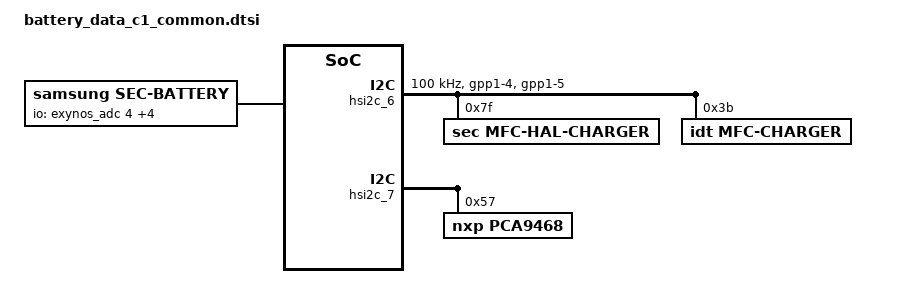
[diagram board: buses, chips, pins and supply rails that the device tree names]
/*
 * SAMSUNG UNIVERSAL9830 board device tree source
 *
 * Copyright (c) 2018 Samsung Electronics Co., Ltd.
 *		http://www.samsung.com
 *
 * This program is free software; you can redistribute it and/or modify
 * it under the terms of the GNU General Public License version 2 as
 * published by the Free Software Foundation.
 */
/ {
	fragment@battery {
		target-path = "/";
		__overlay__ {
			sec-direct-charger {
				status = "okay";
				compatible = "samsung,sec-direct-charger";

				charger,battery_name = "battery";
				charger,main_charger = "max77705-charger";
				charger,direct_charger = "pca9468-charger";

				charger,dchg_min_current = <2000>;
				charger,dchg_temp_low_threshold = <180>;
				charger,dchg_temp_high_threshold = <420>;
			};

			battery {
				status = "okay";
				compatible = "samsung,sec-battery";
				/* battery,irq_gpio = <&gpa1 6 0>; */

				battery,vendor = "Battery";
				battery,charger_name = "sec-direct-charger";
				battery,fuelgauge_name = "max77705-fuelgauge";
				battery,wireless_charger_name = "mfc-charger";
				battery,technology = <2>; /* POWER_SUPPLY_TECHNOLOGY_LION */
				battery,fgsrc_switch_name = "max77705-charger"; /* Fuelgauge voltage source */

				battery,batt_data_version = <2>;

				battery,chip_vendor = "LSI";
				battery,temp_adc_type = <1>; /* SEC_BATTERY_ADC_TYPE_AP */

				battery,temp_check_type = <2>; /* SEC_BATTERY_TEMP_CHECK_TEMP */
				battery,usb_temp_check_type = <2>;
				battery,chg_temp_check_type = <2>;
				battery,wpc_temp_check_type = <2>;
				battery,dchg_temp_check_type = <2>;

				battery,thermal_source = <2>; /* SEC_BATTERY_THERMAL_SOURCE_ADC */
				battery,usb_thermal_source = <2>;
				battery,chg_thermal_source = <2>;
				battery,wpc_thermal_source = <2>;
				battery,dchg_thermal_source = <3>; /* SEC_BATTERY_THERMAL_SOURCE_CHG_ADC */

				battery,polling_time = <10 30 30 30 3600>;

				battery,temp_table_adc = <331 372 428 483 562 654 761 885 1027 1188 1371
					1571 1791 2016 2253 2491 2728 2941 3133 3301 3446 3566 3660>;
				battery,temp_table_data = <900 850 800 750 700 650 600 550 500 450 400
					350 300 250 200 150 100 50 0 (-50) (-100) (-150) (-200)>;

				battery,usb_temp_table_adc = <294 345 407 475 558 652 763 890 1036 1201 1383
					1584 1800 2027 2257 2491 2716 2918 3115 3280 3436 3556 3654>;
				battery,usb_temp_table_data = <900 850 800 750 700 650 600 550 500 450 400
					350 300 250 200 150 100 50 0 (-50) (-100) (-150) (-200)>;

				battery,chg_temp_table_adc = <255 300 371 434 516 608 718 842 987 1145 1326
					1531 1754 1979 2224 2463 2702 2921 3117 3293 3461 3585 3694>;
				battery,chg_temp_table_data = <900 850 800 750 700 650 600 550 500 450 400
					350 300 250 200 150 100 50 0 (-50) (-100) (-150) (-200)>;

				battery,wpc_temp_table_adc = <331 372 428 483 562 654 761 885 1027 1188 1371
					1571 1791 2016 2253 2491 2728 2941 3133 3301 3446 3566 3660>;
				battery,wpc_temp_table_data = <900 850 800 750 700 650 600 550 500 450 400
					350 300 250 200 150 100 50 0 (-50) (-100) (-150) (-200)>;

				battery,dchg_temp_table_adc = <100096 119646 150144 176732 215050 255714 303416 358156 421498 492660 568514
					663136 761668 865674 972026 1079160 1184730 1284044 1373192 1456084 1524900 1581986 1630470>;
				battery,dchg_temp_table_data = <900 850 800 750 700 650 600 550 500 450 400
					350 300 250 200 150 100 50 0 (-50) (-100) (-150) (-200)>;

				battery,wireless_cc_cv = <85>;
				battery,wpc_cc_cv_vout = <5500>;
				battery,wpc_cv_call_vout = <5000>;
				battery,wpc_cc_call_vout = <5000>;
				battery,wpc_det = <&gpa2 0 0>;
				battery,wpc_en = <&gpm10 0 0>;
				battery,wpc_int = <&gpa3 2 0>;
				battery,hv_vout_wa = <0x41>; /* WC vout 10.0V */
				battery,adc_check_count = <5>;

				battery,cable_check_type = <4>; /* SEC_BATTERY_CABLE_CHECK_PSY */
				battery,cable_source_type = <1>; /* SEC_BATTERY_CABLE_SOURCE_EXTERNAL */
				battery,polling_type = <1>; /* SEC_BATTERY_MONITOR_ALARM */
				battery,monitor_initial_count = <0>;

				battery,battery_check_type = <0>; /* SEC_BATTERY_CHECK_NONE */
				battery,check_count = <0>;
				battery,check_adc_max = <1440>;
				battery,check_adc_min = <0>;

				battery,ovp_uvlo_check_type = <3>; /* SEC_BATTERY_OVP_UVLO_CHGPOLLING */

				battery,temp_check_count = <1>;
				battery,temp_highlimit_threshold_event = <700>;
				battery,temp_highlimit_recovery_event = <680>;
				battery,temp_high_threshold_event = <500>;
				battery,temp_high_recovery_event = <480>;
				battery,temp_low_threshold_event = <0>;
				battery,temp_low_recovery_event = <20>;
				battery,temp_highlimit_threshold_normal = <700>;
				battery,temp_highlimit_recovery_normal = <680>;
				battery,temp_high_threshold_normal = <500>;
				battery,temp_high_recovery_normal = <480>;
				battery,temp_low_threshold_normal = <0>;
				battery,temp_low_recovery_normal = <20>;
				battery,temp_highlimit_threshold_lpm = <700>;
				battery,temp_highlimit_recovery_lpm = <680>;
				battery,temp_high_threshold_lpm = <500>;
				battery,temp_high_recovery_lpm = <480>;
				battery,temp_low_threshold_lpm = <0>;
				battery,temp_low_recovery_lpm = <20>;
				battery,wpc_high_threshold_normal = <450>;
				battery,wpc_high_recovery_normal = <430>;
				battery,wpc_low_threshold_normal = <0>;
				battery,wpc_low_recovery_normal = <20>;
				battery,tx_high_threshold = <450>;
				battery,tx_high_recovery = <400>;
				battery,tx_low_threshold = <0>;
				battery,tx_low_recovery = <50>;
				battery,full_check_type = <2>; /* SEC_BATTERY_FULLCHARGED_FUELGAUGE */
				battery,full_check_type_2nd = <2>; /* SEC_BATTERY_FULLCHARGED_FUELGAUGE */
				battery,full_check_count = <1>;
				battery,chg_gpio_full_check = <0>;
				battery,chg_polarity_full_check = <1>;

				battery,chg_high_temp = <500>;
				battery,chg_high_temp_recovery = <480>;

				battery,dchg_high_temp = <480>;
				battery,dchg_high_temp_recovery = <420>;
				battery,dchg_high_batt_temp = <400>;
				battery,dchg_high_batt_temp_recovery = <380>;

				battery,chg_input_limit_current = <1000>;
				battery,chg_charging_limit_current = <1900>;
				battery,dchg_input_limit_current = <1000>;
				battery,dchg_charging_limit_current = <2000>;

				battery,charging_limit_by_tx_check = <1>;

				battery,wpc_temp_control_source = <1>; /* TEMP_CONTROL_SOURCE_BAT_THM = WPC_THM */
				battery,wpc_high_temp = <400>;
				battery,wpc_high_temp_recovery = <380>;
				battery,wpc_input_limit_current = <600>;
				battery,wpc_charging_limit_current = <1000>;
				battery,wpc_temp_lcd_on_control_source = <1>; /* TEMP_CONTROL_SOURCE_BAT_THM = WPC_THM */
				battery,wpc_lcd_on_high_temp = <400>;
				battery,wpc_lcd_on_high_temp_rec = <380>;
				battery,wpc_lcd_on_input_limit_current = <450>;

				battery,wpc_store_high_temp = <360>;
				battery,wpc_store_high_temp_recovery = <340>;
				battery,wpc_store_lcd_on_high_temp = <360>;
				battery,wpc_store_lcd_on_high_temp_rec = <300>;
				battery,wpc_store_lcd_on_charging_limit_current = <400>;

				battery,sleep_mode_limit_current = <800>;
				battery,wc_full_input_limit_current = <100>;

				battery,mix_high_temp = <420>;
				battery,mix_high_chg_temp = <500>;
				battery,mix_high_dc_temp = <580>;
				battery,mix_high_temp_recovery = <390>;

				/* SEC_BATTERY_FULL_CONDITION_NOTIMEFULL | SEC_BATTERY_FULL_CONDITION_VCELL */
				battery,full_condition_type = <9>;
				battery,full_condition_soc = <93>;
				battery,full_condition_vcell = <4370>;

				battery,recharge_check_count = <1>;
				battery,recharge_condition_type = <4>; /* SEC_BATTERY_RECHARGE_CONDITION_VCELL */
				battery,recharge_condition_soc = <98>;
				battery,recharge_condition_vcell = <4350>;

				battery,charging_total_time = <14400>;
				battery,hv_charging_total_time = <10800>;
				battery,normal_charging_total_time = <18000>;
				battery,usb_charging_total_time = <36000>;
				battery,recharging_total_time = <5400>;
				battery,charging_reset_time = <0>;

				battery,chg_float_voltage = <4420>;
				battery,chg_ocp_current = <6200>;
				battery,chg_ocp_dtc = <100>;

				battery,swelling_high_temp_block = <420>;
				battery,swelling_high_temp_recov = <400>;
				battery,swelling_low_temp_block_1st = <150>;
				battery,swelling_low_temp_recov_1st = <170>;
				battery,swelling_low_temp_block_2nd = <50>;
				battery,swelling_low_temp_recov_2nd = <70>;
				battery,swelling_low_temp_3rd_ctrl;
				battery,swelling_low_temp_block_3rd = <180>;
				battery,swelling_low_temp_recov_3rd = <200>;

				battery,swelling_low_temp_current = <1000>;	/* 0.24C */
				battery,swelling_low_temp_current_2nd = <400>;	/* 0.1C */
				battery,swelling_low_temp_current_3rd = <3000>;	/* 0.72C */
				battery,swelling_low_temp_topoff = <208>;	/* 0.05C */
				battery,swelling_high_temp_current = <1500>;	/* 0.36C */
				battery,swelling_high_temp_topoff = <208>;	/* 0.05C */
				battery,swelling_wc_high_temp_current = <1000>;	/* 0.24C */
				battery,swelling_wc_low_temp_current = <1000>;	/* 0.24C */
 				battery,swelling_wc_low_temp_current_2nd = <400>;	/* 0.1C */
				battery,swelling_wc_low_temp_current_3rd = <3000>;	/* 0.72C */
				battery,swelling_low_rechg_thr = <150>;

				battery,swelling_drop_float_voltage = <4200>;
				battery,swelling_high_rechg_voltage = <4050>;
				battery,swelling_low_rechg_voltage = <4000>;
				battery,wa_float_voltage = <4050>;

				battery,siop_event_check_type = <1>;
				battery,siop_call_cv_current = <300>;
				battery,siop_call_cc_current = <300>;

				battery,siop_input_limit_current = <1200>;
				battery,siop_charging_limit_current = <1000>;
				battery,siop_hv_input_limit_current = <700>;
				battery,siop_hv_charging_limit_current = <1000>;
				battery,siop_apdo_input_limit_current = <1200>;
				battery,siop_apdo_charging_limit_current = <2000>;

				battery,siop_wireless_input_limit_current = <600>;
				battery,siop_wireless_charging_limit_current = <1000>;
				battery,siop_hv_wireless_input_limit_current = <700>;
				battery,siop_hv_wireless_charging_limit_current = <1000>;
				battery,siop_store_hv_wireless_input_limit_current = <450>;
				battery,store_mode_buckoff;

				battery,ttf_hv_charge_current = <2750>;
				battery,ttf_hv_wireless_charge_current = <1430>;
				battery,ttf_wireless_charge_current = <865>;
				battery,ttf_dc25_charge_current = <4000>;
				battery,ttf_dc45_charge_current = <4000>;

				battery,rp_current_rp1 = <500>;
				battery,rp_current_rp2 = <1500>;
				battery,rp_current_rp3 = <3000>;
				battery,rp_current_rdu_rp3 = <2100>;
				battery,rp_current_abnormal_rp3 = <1800>;

				battery,pd_charging_charge_power = <15000>;
				battery,max_charging_current = <3150>;
				battery,max_charging_charge_power = <25000>; /* 25W */
				battery,battery_full_capacity = <4300>;

				/* cycle, chg_float_voltage, recharge_condition_vcell, full_condition_vcell, full_condition_soc */
				battery,age_data = <0 4420 4350 4370 93
						200 4360 4290 4310 90
						1000 4310 4240 4260 89>;

				battery,health_condition = <
					/* CYCLE ASOC */
					900 75	/* GOOD */
					1200 65 /* NORMAL */
					1500 55 /* AGED */
					>;

				/* step charging option */
				battery,step_charging_type = <0x3E>;
				battery,step_charging_step = <2>;
				battery,step_charging_charge_power = <12000>;
				battery,step_charging_condition = <55 100 55 100 55 100 55 100 55 100>;
				battery,step_charging_condition_curr = <2850 2500>;
				battery,step_charging_current = <3150 3100>;
				battery,step_charging_float_voltage = <4260 4420>;

				/* direct step charging option */
				battery,dc_step_chg_type = <0xE9>;
				battery,dc_step_chg_charge_power = <22000>;
				battery,dc_step_chg_step = <3>;
				battery,dc_step_chg_step_2nd = <0>;
				battery,dc_step_chg_cond_vol = <4150 4265 4420>; /*<25w 3step> STEP_CHARGING_CONDITION_VOLTAGE */
				battery,dc_step_chg_cond_iin = <1940 1550 0>; /* <25w 3step> STEP_CHARGING_CONDITION_INPUT_CURRENT */
				battery,dc_step_chg_iin_check_cnt = <3>;
				battery,dc_step_chg_val_vfloat = <4150 4265 4420>; /* <25w 3step> STEP_CHARGING_CONDITION_FLOAT_VOLTAGE */
				battery,dc_step_chg_val_iout = <5040 3880 3100>; /* <25w 3step> */
				battery,dc_step_chg_cond_soc = <30 55 100 30 55 100 30 55 100 30 55 100 30 55 100>; /* <25w 3step> STEP_CHARGING_CONDITION_SOC */

				battery,pre_afc_input_current = <500>; /* mA */
				battery,prepare_ta_delay = <0>; /* msec */

				battery,max_input_voltage = <9000>; /* mV */
				battery,max_input_current = <3000>;  /* mA */

				battery,enable_sysovlo_irq;
				battery,enable_noise_wa;
				battery,dis_auto_shipmode_temp_ctrl;

				battery,standard_curr = <3100>;
				battery,expired_time = <10800>;
				battery,recharging_expired_time = <5400>;

				battery,cisd_max_voltage_thr = <4470>; /* battery ovp detection voltage */

				battery,cisd_alg_index = <8>;
				battery,ignore_cisd_index = <0 0>;
				battery,ignore_cisd_index_d = <0 80>; /* Do not use BUCK_OFF_PER_DAY, DROP_SENSOR_PER_DAY */

				battery,tx_stop_capacity = <30>;
				battery,tx_minduty_default = <20>;
				battery,tx_minduty_5V = <50>;

				battery,tx_uno_iout = <1500>;
				battery,tx_mfc_iout_gear = <1500>;
				battery,tx_mfc_iout_phone = <1100>;
				battery,tx_mfc_iout_phone_5v = <300>;
				battery,tx_mfc_iout_lcd_on = <900>;

				battery,support_unknown_wpcthm;

				io-channels = <&exynos_adc 4>, <&exynos_adc 3>, <&exynos_adc 11>, <&exynos_adc 4>, <&exynos_adc 1>;
				io-channel-names = "adc-temp", "adc-chg-temp", "adc-in-bat", "adc-wpc-temp", "adc-usb-temp";
				#io-channel-cells = <5>;
				io-channel-ranges;

				battery,snkcap_data = /bits/ 8 <0x04 0x2C 0x91 0x01 0x36 0xC8 0xD0 0x02 0x00 0xC8 0x90
					0x41 0x8B 0x32 0x21 0xDC 0xC0>;
			};

			max77705-fuelgauge {
				status = "okay";
				fuelgauge,fuel_alert_soc = <1>;
				fuelgauge,jig_gpio = <&gpm23 0 0>;
				fuelgauge,jig_low_active;
				fuelgauge,capacity_max = <1000>;
				fuelgauge,capacity_max_margin = <300>;
				fuelgauge,capacity_min = <0>;
				fuelgauge,capacity_calculation_type = <0x5C>;
				fuelgauge,repeated_fuelalert;
				fuelgauge,using_temp_compensation;
				fuelgauge,low_temp_limit = <100>;
				fuelgauge,vempty_recover_time = <180>; /* 3 mins */
				fuelgauge,using_hw_vempty;
				fuelgauge,v_empty = <0xA7E2>; /* Empty: 3400mV, Recover: 4000mV */
				fuelgauge,v_empty_origin = <0x7D54>; /* Empty: 2500mV, Recover: 3360mV */
				fuelgauge,sw_v_empty_voltage = <3200>;
				fuelgauge,sw_v_empty_voltage_cisd = <3100>;
				fuelgauge,sw_v_empty_recover_voltage = <3480>;
				fuelgauge,qrtable20 = <0x0F00>;
				fuelgauge,qrtable30 = <0x0C80>;
				fuelgauge,fg_resistor = <2>;
				fuelgauge,capacity = <0x0F50>;
				/* fullcapnom(=capacity), dPacc, dQacc,  rcomp0, tempco */
				fuelgauge,fg_reset_wa_data = <0x0F50 0x3200 0x03D4 0x0035 0x1827>;
				/*fuelgauge,auto_discharge_en;*/
				fuelgauge,discharge_temp_threshold = <600>;
				fuelgauge,discharge_volt_threshold = <4200>;

				fuelgauge,lost_soc_trig_soc = <1000>; /* 100.0% */
				fuelgauge,lost_soc_trig_d_soc = <20>; /* 2% */
				fuelgauge,lost_soc_trig_scale = <2>; /* 2x */
				fuelgauge,lost_soc_guarantee_soc = <30>; /* 3.0% */
				fuelgauge,lost_soc_min_vol = <3200>; /* 3200mV */

				fuelgauge,ttf_capacity = <3500>;
				fuelgauge,cv_data = <
					3228	864	1534
					3067	872	1493
					2896	881	1442
					2695	892	1380
					2492	902	1293
					2263	910	1205
					2103	920	1108
					1911	930	1000
					1722	942	871
					1532	950	763
					1338	960	685
					1213	969	486
					1073	980	307
					932		990	115
					571		1000	0
				>;
			};

			/* sec_battery_cable
			 *   0	UNKNOWN,
			 *   1	NONE,
			 *   2	PREPARE_TA,
			 *   3	TA,
			 *   4	USB,
			 *   5	USB_CDP,
			 *   6	9V_TA,
			 *   7	9V_ERR,
			 *   8	9V_UNKNOWN,
			 *   9	12V_TA,
			 *  10	WIRELESS,
			 *  11	HV_WIRELESS,
			 *  12	PMA_WIRELESS,
			 *  13	WIRELESS_PACK,
			 *  14	WIRELESS_HV_PACK,
			 *  15	WIRELESS_STAND,
			 *  16	WIRELESS_HV_STAND,
			 *  17	QC20,
			 *  18	QC30,
			 *  19	PDIC,
			 *  20	UARTOFF,
			 *  21	OTG,
			 *  22	LAN_HUB,
			 *  23	POWER_SHARING,
			 *  24	HMT_CONNECTED,
			 *  25	HMT_CHARGE,
			 *  26	HV_TA_CHG_LIMIT,
			 *  27	WIRELESS_VEHICLE,
			 *  28	WIRELESS_HV_VEHICLE,
			 *  29	PREPARE_WIRELESS_HV,
			 *  30	TIMEOUT,
			 *  31	SMART_OTG,
			 *  32	SMART_NOTG,
			 *  33	WIRELESS_TX,
			 *  34	HV_WIRELESS_20,
			 *  35	HV_WIRELESS_20_LIMIT,
			 *  36	WIRELESS_FAKE,
			 *  37  PREPARE_WIRELESS_20,
			 *  38	CABLE_PDIC_APDO,
			 *  39	CABLE_MAX,
			 */

			cable-info {
				default_input_current = <1800>;
				default_charging_current = <2100>;
				full_check_current_1st = <625>;
				full_check_current_2nd = <208>;

				current_group_1 {
					cable_number = <2 19 21 22 23 30>;
					input_current = <500>;
					charging_current = <500>;
				};
				current_group_2 {
					cable_number = <25 31>;
					input_current = <1000>;
					charging_current = <1000>;
				};
				current_group_3 {
					cable_number = <5 32>;
					input_current = <1500>;
					charging_current = <1500>;
				};
				current_group_4 {
					cable_number = <6 7 8>;
					input_current = <1650>;
					charging_current = <3150>;
				};
				current_group_5 {
					cable_number = <9>;
					input_current = <1650>;
					charging_current = <3150>;
				};
				current_group_6 {
					cable_number = <10 12 15 27 33 35>;
					input_current = <800>;
					charging_current = <3000>;
				};
				current_group_7 {
					cable_number = <13>;
					input_current = <700>;
					charging_current = <3000>;
				};
				current_group_8 {
					cable_number = <24>;
					input_current = <1000>;
					charging_current = <450>;
				};
				current_group_9 {
					cable_number = <26>;
					input_current = <2000>;
					charging_current = <1800>;
				};
				current_group_10 {
					cable_number = <11 14 16 28>;
					input_current = <750>;
					charging_current = <3000>;
				};
				current_group_11 {
					cable_number = <29 36 37>;
					input_current = <500>;
					charging_current = <1400>;
				};
				current_group_12 {
					cable_number = <1 4>;
					input_current = <475>;
					charging_current = <550>;
				};
				current_group_13 {
					cable_number = <34>;
					input_current = <500>;
					charging_current = <3000>;
				};
			};
			wireless-power-info {
				current_group_0 {
					wireless_power_class = <1>;
					vout = <5500>;
					input_current_limit = <800>;
					fast_charging_current = <3000>;
					ttf_charge_current = <865>;
					rx_power = <4500>;
				};
				current_group_1 {
					wireless_power_class = <2>;
					vout = <10000>;
					input_current_limit = <750>;
					fast_charging_current = <3000>;
					ttf_charge_current = <1430>;
					rx_power = <7500>;
				};
				current_group_2 {
					wireless_power_class = <2>;
					vout = <11000>;
					input_current_limit = <1100>;
					fast_charging_current = <3000>;
					ttf_charge_current = <1910>;
					rx_power = <12000>;
				};
				current_group_3 {
					wireless_power_class = <2>;
					vout = <11000>;
					input_current_limit = <1300>;
					fast_charging_current = <3000>;
					ttf_charge_current = <1980>;
					rx_power = <14000>;
				};
			};
		}; /* end of __overlay__ */
	}; /* end of fragment */
};

&pinctrl_0 {
	wpc_det: wpc-det {
		samsung,pins = "gpa2-0";
		samsung,pin-function = <0xf>;
		samsung,pin-pud = <0>;
		samsung,pin-drv = <0>;
	};

	wpc_int: wpc-int {
		samsung,pins = "gpa3-1";
		samsung,pin-function = <0xf>;
		samsung,pin-pud = <0>;
		samsung,pin-drv = <0>;
	};
};

&pinctrl_1 {
	wpc_en: wpc-en {
		samsung,pins = "gpm10-0";
		samsung,pin-function = <0x1>;
		samsung,pin-pud = <0>;
		samsung,pin-drv = <0>;
	};
};

&pinctrl_4 {
	mfc_i2c: mfc-i2c {
		samsung,pins = "gpp1-4", "gpp1-5";
		samsung,pin-function = <2>;
		samsung,pin-pud = <0>;
		samsung,pin-drv = <0>;
		samsung,pin-con-pdn = <3>;
		samsung,pin-pud-pdn = <0>;
	};
};

&hsi2c_6 {
	#address-cells = <1>;
	#size-cells = <0>;
	status = "okay";
	pinctrl-names = "default";
	pinctrl-0 = <&mfc_i2c>;
	samsung,stop-after-trans;
	samsung,stand-mode;
	clock-frequency = <100000>;

	mfc-hal-charger@7f {
		compatible = "sec,mfc-hal-charger";
		reg = <0x7f>;
		status = "okay";

		battery,wpc_det = <&gpa2 0 0>;

		battery,charger_name = "max77705-charger";
	};

	mfc-charger@3b {
		compatible = "idt,mfc-charger";
		reg = <0x3b>;
		status = "okay";

		pinctrl-names = "default";
		pinctrl-0 = <&wpc_det &wpc_en &wpc_int>;

		battery,wpc_int = <&gpa3 1 0>;
		battery,wpc_det = <&gpa2 0 0>;
		battery,mst_pwr_en = <&gpm18 0 0>;
		battery,wpc_en = <&gpm10 0 0>;

		battery,charger_name = "max77705-charger";
		battery,fuelgauge_name = "max77705-fuelgauge";
		battery,wireless_charger_name = "mfc-charger";
		battery,wc_cover_rpp = <0x44>;
		battery,phone_fod_threshold = <0x3b>;
		battery,wireless20_vout_list = <9 9 9>; /* WIRELESS_VOUT_11V, 11V, 11V */
		battery,wireless20_vrect_list = <10 11 11>; /* MFC_AFC_CONF_12V_TX, 12.5V, 12.5V */
		battery,wireless20_max_power_list = <2 3 3>; /* SEC_WIRELESS_RX_POWER_12W, 15W, 15W */
		battery,oc_fod1 = <1100>;
		battery,tx_gear_min_op_freq_delay = <4000>;
	};
};

&hsi2c_7 {
	status = "okay";
	pca9468@57 {
		compatible = "nxp,pca9468";
		reg = <0x57>;

		pca9468,input-current-limit = <2550000>; /* 2.55A */
		pca9468,charging-current = <6000000>; /* 6A */
		pca9468,ta-max-vol = <10000000>; /* 10.0V */
		pca9468,input-itopoff = <500000>; /* 500mA */
		pca9468,sense-resistance = <0>; /* 5mOhm */
		pca9468,switching-frequency = <3>; /* 980KHz */
		pca9468,ntc-threshold = <0>; /* disable */
		pca9468,ta-mode = <1>; /* 2:1 charging mode */
		pca9468,cv-polling = <2000>; /* 2s */
	};
};

